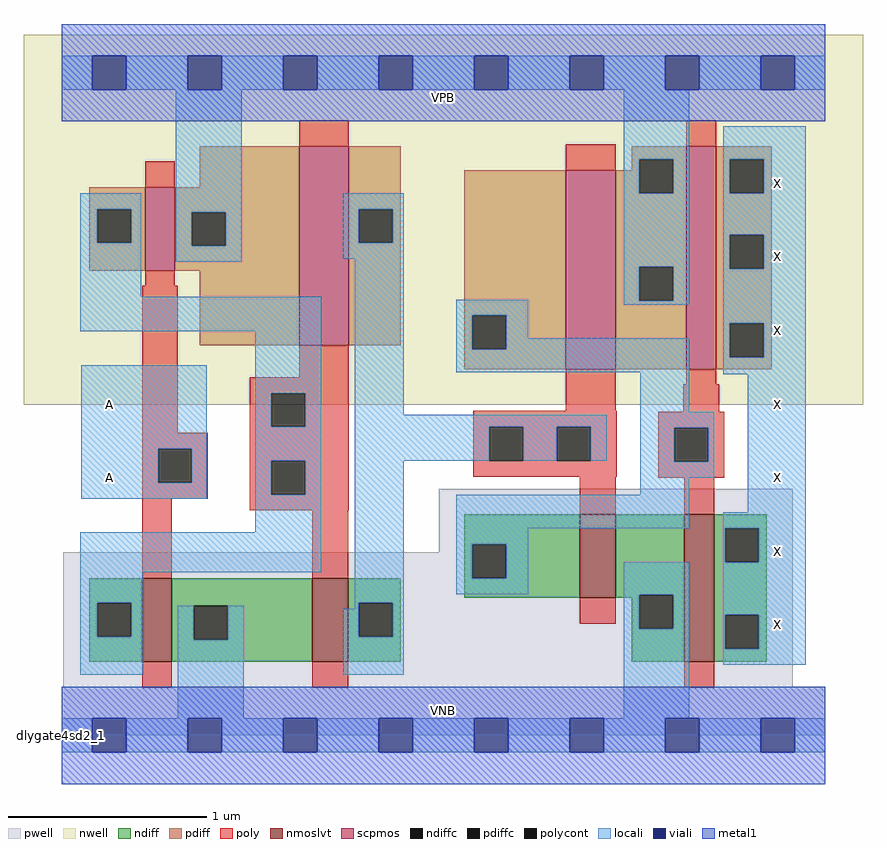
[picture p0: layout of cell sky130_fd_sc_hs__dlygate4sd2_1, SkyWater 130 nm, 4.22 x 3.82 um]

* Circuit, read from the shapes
.subckt sky130_fd_sc_hs__dlygate4sd2_1 A VGND VNB VPB VPWR X
XM1 VGND A n1 VNB sky130_fd_pr__nfet_01v8_lvt w=0.42 l=0.15
XM2 n2 n1 VGND VNB sky130_fd_pr__nfet_01v8_lvt w=0.42 l=0.18
XM3 VGND n2 n3 VNB sky130_fd_pr__nfet_01v8_lvt w=0.42 l=0.18
XM4 X n3 VGND VNB sky130_fd_pr__nfet_01v8_lvt w=0.74 l=0.15
XM5 VPWR A n1 VPB sky130_fd_pr__pfet_01v8 w=0.42 l=0.15
XM6 n2 n1 VPWR VPB sky130_fd_pr__pfet_01v8 w=1 l=0.25
XM7 VPWR n2 n3 VPB sky130_fd_pr__pfet_01v8 w=1 l=0.25
XM8 X n3 VPWR VPB sky130_fd_pr__pfet_01v8 w=1.12 l=0.15
.ends

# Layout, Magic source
magic
tech sky130A
magscale 1 2
<< nwell >>
rect -38 332 806 704
<< pwell >>
rect 379 184 735 248
rect 2 49 735 184
rect 0 0 768 49
<< scpmos >>
rect 84 467 114 551
rect 239 392 289 592
rect 507 368 557 568
rect 628 368 658 592
<< nmoslvt >>
rect 81 74 111 158
rect 252 74 288 158
rect 521 138 557 222
rect 626 74 656 222
<< ndiff >>
rect 405 192 521 222
rect 405 158 413 192
rect 447 158 521 192
rect 28 133 81 158
rect 28 99 36 133
rect 70 99 81 133
rect 28 74 81 99
rect 111 130 252 158
rect 111 96 133 130
rect 167 96 252 130
rect 111 74 252 96
rect 288 133 341 158
rect 405 138 521 158
rect 557 141 626 222
rect 557 138 581 141
rect 288 99 299 133
rect 333 99 341 133
rect 288 74 341 99
rect 573 107 581 138
rect 615 107 626 141
rect 573 74 626 107
rect 656 208 709 222
rect 656 174 667 208
rect 701 174 709 208
rect 656 121 709 174
rect 656 87 667 121
rect 701 87 709 121
rect 656 74 709 87
<< pdiff >>
rect 139 551 239 592
rect 28 529 84 551
rect 28 495 36 529
rect 70 495 84 529
rect 28 467 84 495
rect 114 526 239 551
rect 114 492 131 526
rect 165 492 239 526
rect 114 467 239 492
rect 139 392 239 467
rect 289 529 341 592
rect 573 579 628 592
rect 573 568 581 579
rect 289 495 299 529
rect 333 495 341 529
rect 289 392 341 495
rect 405 422 507 568
rect 405 388 413 422
rect 447 388 507 422
rect 405 368 507 388
rect 557 545 581 568
rect 615 545 628 579
rect 557 471 628 545
rect 557 437 581 471
rect 615 437 628 471
rect 557 368 628 437
rect 658 579 714 592
rect 658 545 672 579
rect 706 545 714 579
rect 658 503 714 545
rect 658 469 672 503
rect 706 469 714 503
rect 658 414 714 469
rect 658 380 672 414
rect 706 380 714 414
rect 658 368 714 380
<< ndiffc >>
rect 413 158 447 192
rect 36 99 70 133
rect 133 96 167 130
rect 299 99 333 133
rect 581 107 615 141
rect 667 174 701 208
rect 667 87 701 121
<< pdiffc >>
rect 36 495 70 529
rect 131 492 165 526
rect 299 495 333 529
rect 413 388 447 422
rect 581 545 615 579
rect 581 437 615 471
rect 672 545 706 579
rect 672 469 706 503
rect 672 380 706 414
<< poly >>
rect 239 592 289 618
rect 84 551 114 577
rect 84 452 114 467
rect 81 304 117 452
rect 507 568 557 594
rect 628 592 658 618
rect 239 360 289 392
rect 189 344 289 360
rect 189 310 211 344
rect 245 310 289 344
rect 507 326 557 368
rect 628 353 658 368
rect 81 288 147 304
rect 81 254 97 288
rect 131 254 147 288
rect 81 238 147 254
rect 189 276 289 310
rect 189 242 211 276
rect 245 242 289 276
rect 414 310 558 326
rect 625 325 661 353
rect 414 276 430 310
rect 464 276 498 310
rect 532 276 558 310
rect 414 260 558 276
rect 600 309 666 325
rect 600 275 616 309
rect 650 275 666 309
rect 81 158 111 238
rect 189 226 289 242
rect 252 158 288 226
rect 521 222 557 260
rect 600 259 666 275
rect 626 222 656 259
rect 521 112 557 138
rect 81 48 111 74
rect 252 48 288 74
rect 626 48 656 74
<< polycont >>
rect 211 310 245 344
rect 97 254 131 288
rect 211 242 245 276
rect 430 276 464 310
rect 498 276 532 310
rect 616 275 650 309
<< locali >>
rect 0 649 31 683
rect 65 649 127 683
rect 161 649 223 683
rect 257 649 319 683
rect 353 649 415 683
rect 449 649 511 683
rect 545 649 607 683
rect 641 649 703 683
rect 737 649 768 683
rect 19 529 80 545
rect 19 495 36 529
rect 70 495 80 529
rect 19 441 80 495
rect 115 526 181 649
rect 565 579 631 649
rect 565 545 581 579
rect 615 545 631 579
rect 115 492 131 526
rect 165 492 181 526
rect 115 476 181 492
rect 283 529 344 545
rect 283 495 299 529
rect 333 495 344 529
rect 283 479 344 495
rect 19 406 261 441
rect 20 288 146 372
rect 20 254 97 288
rect 131 254 146 288
rect 20 238 146 254
rect 195 344 261 406
rect 195 310 211 344
rect 245 310 261 344
rect 195 276 261 310
rect 195 242 211 276
rect 245 242 261 276
rect 195 204 261 242
rect 19 164 261 204
rect 295 322 344 479
rect 565 471 631 545
rect 397 422 469 438
rect 565 437 581 471
rect 615 437 631 471
rect 565 433 631 437
rect 665 579 748 612
rect 665 545 672 579
rect 706 545 748 579
rect 665 503 748 545
rect 665 469 672 503
rect 706 469 748 503
rect 397 388 413 422
rect 447 399 469 422
rect 665 414 748 469
rect 447 388 631 399
rect 397 365 631 388
rect 582 325 631 365
rect 665 380 672 414
rect 706 380 748 414
rect 665 363 748 380
rect 295 310 548 322
rect 295 276 430 310
rect 464 276 498 310
rect 532 276 548 310
rect 582 309 656 325
rect 19 133 82 164
rect 19 99 36 133
rect 70 99 82 133
rect 295 133 344 276
rect 582 275 616 309
rect 650 275 656 309
rect 582 259 656 275
rect 582 242 631 259
rect 397 208 631 242
rect 690 224 748 363
rect 665 208 748 224
rect 397 192 469 208
rect 397 158 413 192
rect 447 158 469 192
rect 665 174 667 208
rect 701 174 748 208
rect 397 142 469 158
rect 19 61 82 99
rect 117 96 133 130
rect 167 96 183 130
rect 295 127 299 133
rect 117 17 183 96
rect 283 99 299 127
rect 333 99 344 133
rect 283 61 344 99
rect 565 141 631 174
rect 565 107 581 141
rect 615 107 631 141
rect 565 17 631 107
rect 665 121 748 174
rect 665 87 667 121
rect 701 87 748 121
rect 665 71 748 87
rect 0 -17 31 17
rect 65 -17 127 17
rect 161 -17 223 17
rect 257 -17 319 17
rect 353 -17 415 17
rect 449 -17 511 17
rect 545 -17 607 17
rect 641 -17 703 17
rect 737 -17 768 17
<< viali >>
rect 31 649 65 683
rect 127 649 161 683
rect 223 649 257 683
rect 319 649 353 683
rect 415 649 449 683
rect 511 649 545 683
rect 607 649 641 683
rect 703 649 737 683
rect 31 -17 65 17
rect 127 -17 161 17
rect 223 -17 257 17
rect 319 -17 353 17
rect 415 -17 449 17
rect 511 -17 545 17
rect 607 -17 641 17
rect 703 -17 737 17
<< metal1 >>
rect 0 683 768 715
rect 0 649 31 683
rect 65 649 127 683
rect 161 649 223 683
rect 257 649 319 683
rect 353 649 415 683
rect 449 649 511 683
rect 545 649 607 683
rect 641 649 703 683
rect 737 649 768 683
rect 0 617 768 649
rect 0 17 768 49
rect 0 -17 31 17
rect 65 -17 127 17
rect 161 -17 223 17
rect 257 -17 319 17
rect 353 -17 415 17
rect 449 -17 511 17
rect 545 -17 607 17
rect 641 -17 703 17
rect 737 -17 768 17
rect 0 -49 768 -17
<< labels >>
rlabel comment s 0 0 0 0 4 dlygate4sd2_1
flabel pwell s 0 0 768 49 0 FreeSans 200 0 0 0 VNB
port 3 nsew ground bidirectional
flabel nwell s 0 617 768 666 0 FreeSans 200 0 0 0 VPB
port 4 nsew power bidirectional
flabel metal1 s 0 0 768 49 0 FreeSans 340 0 0 0 VGND
port 2 nsew ground bidirectional
flabel metal1 s 0 617 768 666 0 FreeSans 340 0 0 0 VPWR
port 5 nsew power bidirectional
flabel locali s 31 242 65 276 0 FreeSans 340 0 0 0 A
port 1 nsew signal input
flabel locali s 31 316 65 350 0 FreeSans 340 0 0 0 A
port 1 nsew signal input
flabel locali s 703 316 737 350 0 FreeSans 200 0 0 0 X
port 6 nsew signal output
flabel locali s 703 464 737 498 0 FreeSans 200 0 0 0 X
port 6 nsew signal output
flabel locali s 703 390 737 424 0 FreeSans 200 0 0 0 X
port 6 nsew signal output
flabel locali s 703 168 737 202 0 FreeSans 200 0 0 0 X
port 6 nsew signal output
flabel locali s 703 94 737 128 0 FreeSans 200 0 0 0 X
port 6 nsew signal output
flabel locali s 703 242 737 276 0 FreeSans 200 0 0 0 X
port 6 nsew signal output
flabel locali s 703 538 737 572 0 FreeSans 200 0 0 0 X
port 6 nsew signal output
<< properties >>
string LEFsite unit
string LEFclass CORE
string FIXED_BBOX 0 0 768 666
string GDS_FILE $PDKPATH/libs.ref/sky130_fd_sc_hs/gds/sky130_fd_sc_hs.gds
string LEFsymmetry X Y
string GDS_END 3348080
string GDS_START 3341598
<< end >>
